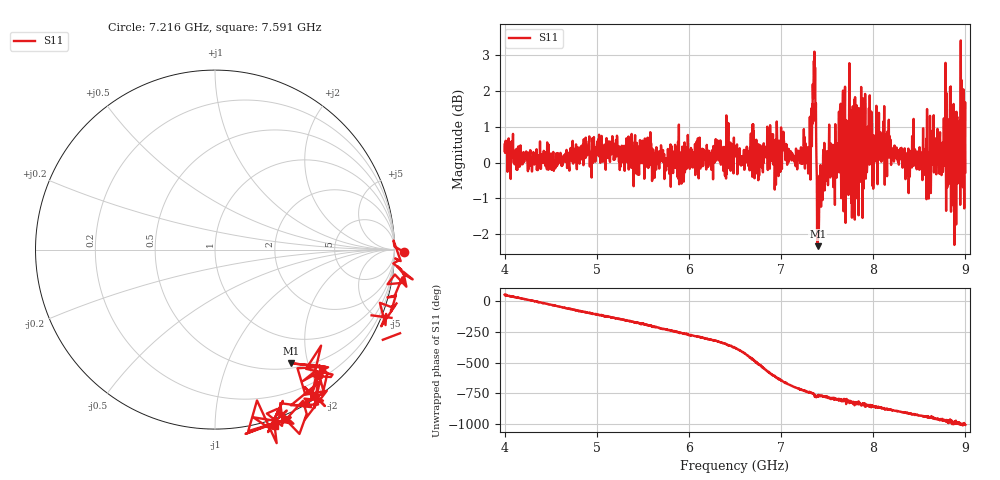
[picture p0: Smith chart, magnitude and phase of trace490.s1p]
! Created with skrf 1.8.0 (http://scikit-rf.org).
# Hz S RI R 50.0
!freq ReS11 ImS11
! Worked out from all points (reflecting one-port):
!   1601 points, 4 GHz to 9 GHz, reference 50 ohm
!   lowest |S11| = -2.3 dB at 7.397 GHz (marker M1), VSWR 7.47, Z = 28.5 - j86.7 ohm
!   phase of S11 starts at 52 deg and turns -1057 deg over the sweep
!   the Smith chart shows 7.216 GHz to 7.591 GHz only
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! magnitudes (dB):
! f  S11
! 4 GHz  0.3
! 4.625 GHz  -0.1
! 5.25 GHz  -0.2
! 5.875 GHz  -0.1
! 6.5 GHz  0.3
! 7.125 GHz  0.2
! 7.294 GHz  -0.3
! 7.356 GHz  2.8
! 7.397 GHz  -2.3
! 7.416 GHz  -0.4
! 7.481 GHz  0.0
! 7.669 GHz  1.6
! 7.75 GHz  -0.2
! 7.788 GHz  -0.5
! 7.8 GHz  -1.6
! 7.844 GHz  1.5
! 7.859 GHz  0.6
! 7.962 GHz  1.9
! 7.997 GHz  0.8
! 8.375 GHz  0.0
! 8.428 GHz  0.5
! 8.578 GHz  -1.0
! 8.656 GHz  1.3
! 8.738 GHz  0.2
! 8.822 GHz  0.1
! 8.875 GHz  1.4
! 8.956 GHz  0.0
! 9 GHz  -0.3
